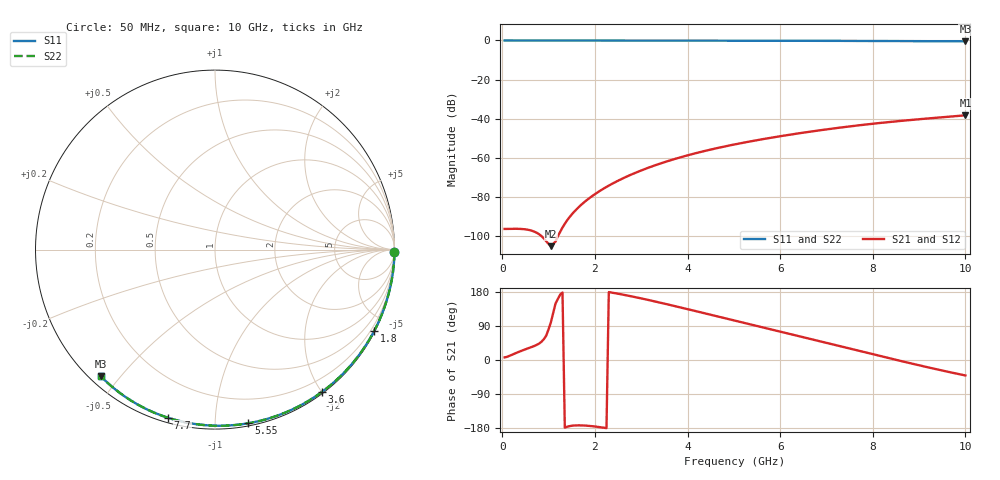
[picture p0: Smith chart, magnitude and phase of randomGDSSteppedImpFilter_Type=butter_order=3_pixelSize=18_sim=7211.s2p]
! freq	dB(S11)	phase(S11)	dB(S12)	phase(S12)
!  dB(S21)	phase(S21)	dB(S22)	phase(S22)
!S-par simulation data
#  GHz  S  DB  R 50
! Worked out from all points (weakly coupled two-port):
!   200 points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, 50 MHz to 10 GHz, reference 50 ohm
!   highest |S21| = -38.28 dB at 10 GHz (marker M1); lowest = -105.2 dB at 1.05 GHz (marker M2)
!   lowest |S11| = -0.4 dB at 10 GHz (marker M3), VSWR 39.10, Z = 1.53 - j22.2 ohm
!   |S11| at or under -10 dB: nowhere
!   |S22| runs from -0.4 to 0.0 dB; largest |S21 - S12| = 0
!   S11 on the Smith chart (normalised r, x): 50 MHz: open; 1.8 GHz: 0.04, -4.15; 3.6 GHz: 0.02, -2.01; 5.55 GHz: 0.02, -1.21; 7.7 GHz: 0.02, -0.76; 10 GHz: 0.03, -0.44
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0.05  -0.00 -0.8  -96.38 6.9  -96.38 6.9  -0.00 -0.8
0.55  -0.01 -8.4  -96.77 30.5  -96.77 30.5  -0.01 -8.4
1.05  -0.02 -15.9  -105.19 99.8  -105.19 99.8  -0.02 -15.9
1.75  -0.03 -26.4  -83.08 -172.8  -83.08 -172.8  -0.03 -26.4
1.8  -0.03 -27.1  -82.09 -173.1  -82.09 -173.1  -0.03 -27.1
1.9  -0.04 -28.6  -80.26 -174.1  -80.26 -174.1  -0.04 -28.6
1.95  -0.04 -29.3  -79.40 -174.8  -79.40 -174.8  -0.04 -29.3
2.25  -0.04 -33.7  -74.87 -179.8  -74.87 -179.8  -0.04 -33.7
2.55  -0.05 -38.1  -71.12 173.8  -71.12 173.8  -0.05 -38.1
2.95  -0.06 -43.8  -66.93 163.9  -66.93 163.9  -0.06 -43.8
3.4  -0.07 -50.2  -63.02 151.6  -63.02 151.6  -0.07 -50.2
3.6  -0.07 -53.0  -61.49 145.9  -61.49 145.9  -0.07 -53.0
3.9  -0.08 -57.1  -59.39 137.2  -59.39 137.2  -0.08 -57.1
4.3  -0.09 -62.6  -56.91 125.4  -56.91 125.4  -0.09 -62.6
5.05  -0.11 -72.6  -53.00 103.1  -53.00 103.1  -0.11 -72.6
5.55  -0.13 -79.1  -50.78 88.3  -50.78 88.3  -0.13 -79.1
6.1  -0.15 -86.1  -48.59 72.1  -48.59 72.1  -0.15 -86.1
6.7  -0.18 -93.6  -46.46 54.4  -46.46 54.4  -0.18 -93.6
7.7  -0.24 -105.6  -43.39 24.4  -43.39 24.4  -0.24 -105.6
8.35  -0.29 -113.3  -41.72 4.9  -41.72 4.9  -0.29 -113.3
9.15  -0.36 -122.5  -39.97 -18.2  -39.97 -18.2  -0.36 -122.5
10  -0.44 -132.2  -38.28 -40.8  -38.28 -40.8  -0.44 -132.2
